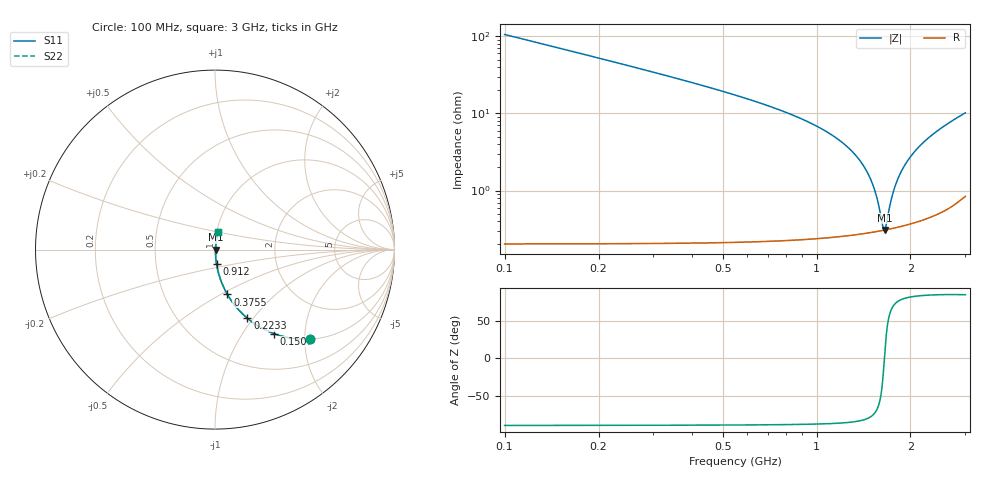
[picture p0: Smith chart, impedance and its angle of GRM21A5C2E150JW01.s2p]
!Murata Part Number: GRM21A5C2E150JW01
!These Parameters are Measured in Series Mode Connection
!Data Generated on Mar 30, 2021
!  o--ll--o
!Port1  Port2
!  o------o
!Operation Temp=25[degC], DC Bias Voltage=0[V]
!Freq. Start=100[MHz] Stop=3[GHz] 401[Steps]
# Hz S RI R 50
!Freq.(Hz) S11(Real) S11(Imag) S21(Real) S21(Imag) S12(Real) S12(Imag) S22(Real) S22(Imag)
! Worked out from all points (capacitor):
!   401 points, 100 MHz to 3 GHz, reference 50 ohm
!   read as one part in series: C = 15 pF near 114.5 MHz
!   lowest |Z| = 307 mohm at 1.651 GHz (marker M1)
!   series resonance near 1.65 GHz, so ESL is about 620 pH
!   S11 on the Smith chart (normalised r, x): 100 MHz: 1.00, -2.11; 150.8 MHz: 1.00, -1.40; 223.2 MHz: 1.00, -0.93; 375.5 MHz: 1.00, -0.54; 912 MHz: 1.00, -0.16; 3 GHz: 1.02, +0.20
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1e8  0.5278 -0.4983  0.4722 0.4983  0.4722 0.4983  0.5278 -0.4983
1.5075e8  0.3283 -0.4681  0.6717 0.4681  0.6717 0.4681  0.3283 -0.4681
2.2325e8  0.1802 -0.3821  0.8198 0.3821  0.8198 0.3821  0.1802 -0.3821
2.885e8  0.1145 -0.3156  0.8855 0.3156  0.8855 0.3156  0.1145 -0.3156
3.755e8  0.069 -0.2497  0.931 0.2497  0.931 0.2497  0.069 -0.2497
5.8575e8  0.0268 -0.1549  0.9732 0.1549  0.9732 0.1549  0.0268 -0.1549
9.12e8  0.00898 -0.0813  0.991 0.0813  0.991 0.0813  0.00898 -0.0813
1.0715e9  0.00583 -0.0582  0.9942 0.0582  0.9942 0.0582  0.00583 -0.0582
1.2455e9  0.004 -0.0376  0.996 0.0376  0.996 0.0376  0.004 -0.0376
1.376e9  0.0033 -0.0243  0.9967 0.0243  0.9967 0.0243  0.0033 -0.0243
1.4775e9  0.00305 -0.0148  0.997 0.0148  0.997 0.0148  0.00305 -0.0148
1.55e9  0.00299 -0.00842  0.997 0.00842  0.997 0.00842  0.00299 -0.00842
1.62975e9  0.00303 -0.00167  0.997 0.00167  0.997 0.00167  0.00303 -0.00167
1.6515e9  0.00306 0.000127  0.9969 -0.000127  0.9969 -0.000127  0.00306 0.000127
1.67325e9  0.0031 0.00191  0.9969 -0.00191  0.9969 -0.00191  0.0031 0.00191
1.74575e9  0.00326 0.00772  0.9967 -0.00772  0.9967 -0.00772  0.00326 0.00772
1.80375e9  0.00345 0.0122  0.9965 -0.0122  0.9965 -0.0122  0.00345 0.0122
1.90525e9  0.00389 0.02  0.9961 -0.02  0.9961 -0.02  0.00389 0.02
2.03575e9  0.00463 0.0296  0.9954 -0.0296  0.9954 -0.0296  0.00463 0.0296
2.246e9  0.00629 0.0447  0.9937 -0.0447  0.9937 -0.0447  0.00629 0.0447
2.5215e9  0.00938 0.0643  0.9906 -0.0643  0.9906 -0.0643  0.00938 0.0643
3e9  0.0183 0.0989  0.9817 -0.0989  0.9817 -0.0989  0.0183 0.0989
